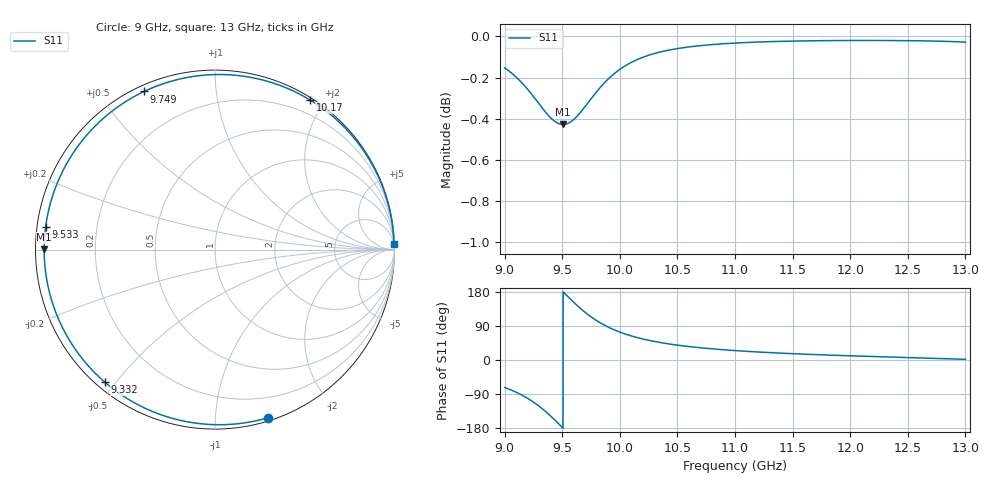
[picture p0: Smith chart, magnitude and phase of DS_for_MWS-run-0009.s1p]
! TOUCHSTONE file generated by CST DESIGN STUDIO
! Date and time: Tue Feb  4 13:17:46 2025
! Project name: C:\Work\MatlabApps\UnitCellOptimizationMatlab\CST\unitcell.cst
! Tree item: Tasks\Sweep1\SPara1\S-Parameters
! Header version: 2024
! Port assignment regex: !\s*Touchstone port\s*([0-9]+)\s*=\s*(CST MWS port|CST DES external port|CST DES block port)\s*(.+)\s* \(\"(.*)\"\)(\s*mode\s*([0-9]+))?.*
! Touchstone port assignment:
! Touchstone port 1 = CST DES external port 1 ("")
# GHz S MA R 50
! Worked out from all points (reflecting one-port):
!   4001 points, 9 GHz to 13 GHz, reference 50 ohm
!   lowest |S11| = -0.4 dB at 9.508 GHz (marker M1), VSWR 40.62, Z = 1.23 + j0.0537 ohm
!   phase of S11 starts at -73 deg and turns -286 deg over the sweep
!   S11 on the Smith chart (normalised r, x): 9 GHz: 0.03, -1.36; 9.332 GHz: 0.02, -0.47; 9.533 GHz: 0.02, +0.07; 9.749 GHz: 0.02, +0.65; 10.17 GHz: 0.03, +1.82; 13 GHz: 6, +62
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9  0.9826 -72.5
9.091  0.978 -83.7
9.194  0.9713 -100.1
9.266  0.9657 -114.4
9.332  0.9603 -129.8
9.378  0.9569 -141.9
9.425  0.9541 -155.2
9.463  0.9526 -166.4
9.5  0.952 -177.7
9.508  0.9519 179.9
9.533  0.9522 172.2
9.586  0.9539 156.3
9.646  0.9575 139.4
9.697  0.9614 126.2
9.749  0.9656 114.1
9.8  0.9696 103.7
9.857  0.9738 93.5
10  0.9818 73.6
10.082  0.985 65.1
10.171  0.9877 57.6
10.32  0.9909 47.8
10.5  0.9933 39.2
10.721  0.995 31.6
11  0.9963 24.8
11.5  0.9974 16.7
12  0.9978 11.0
12.5  0.9977 6.4
13  0.9968 1.8
